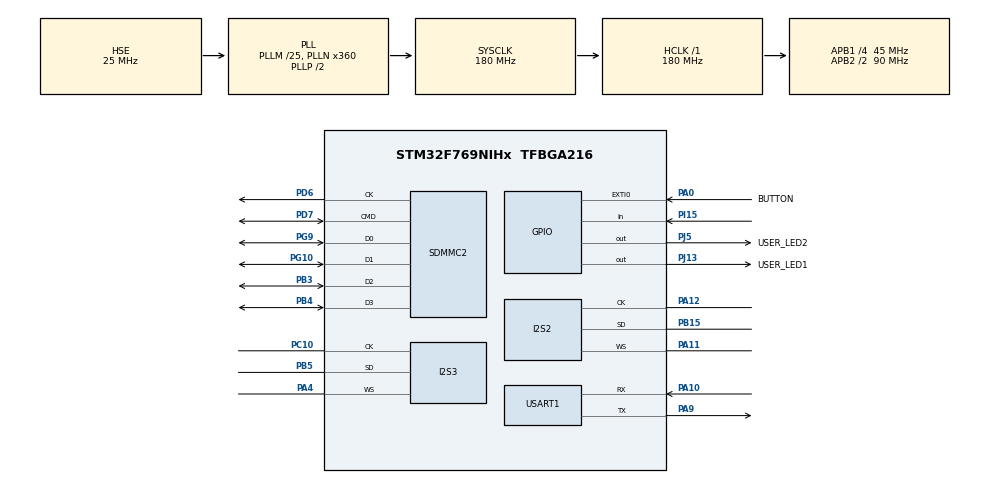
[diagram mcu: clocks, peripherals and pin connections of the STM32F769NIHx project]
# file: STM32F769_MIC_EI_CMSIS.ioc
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CORTEX_M7.AccessPermission_Spec=MPU_REGION_FULL_ACCESS
CORTEX_M7.CPU_DCache=Enabled
CORTEX_M7.CPU_ICache=Enabled
CORTEX_M7.Enable_Spec=__NULL
CORTEX_M7.MPU_Control=__NULL
CORTEX_M7.PREFETCH_ENABLE=1
CORTEX_M7.default_mode_Activation=1
Dma.Request0=SPI2_RX
Dma.Request1=SPI3_RX
Dma.Request2=SDMMC2_RX
Dma.Request3=SDMMC2_TX
Dma.SDMMC2_RX.2.Direction=DMA_PERIPH_TO_MEMORY
Dma.SDMMC2_RX.2.FIFOMode=DMA_FIFOMODE_ENABLE
Dma.SDMMC2_RX.2.FIFOThreshold=DMA_FIFO_THRESHOLD_FULL
Dma.SDMMC2_RX.2.Instance=DMA2_Stream0
Dma.SDMMC2_RX.2.MemBurst=DMA_MBURST_INC4
Dma.SDMMC2_RX.2.MemDataAlignment=DMA_MDATAALIGN_WORD
Dma.SDMMC2_RX.2.MemInc=DMA_MINC_ENABLE
Dma.SDMMC2_RX.2.Mode=DMA_PFCTRL
Dma.SDMMC2_RX.2.PeriphBurst=DMA_PBURST_INC4
Dma.SDMMC2_RX.2.PeriphDataAlignment=DMA_PDATAALIGN_WORD
Dma.SDMMC2_RX.2.PeriphInc=DMA_PINC_DISABLE
Dma.SDMMC2_RX.2.Priority=DMA_PRIORITY_LOW
Dma.SDMMC2_TX.3.Direction=DMA_MEMORY_TO_PERIPH
Dma.SDMMC2_TX.3.FIFOMode=DMA_FIFOMODE_ENABLE
Dma.SDMMC2_TX.3.FIFOThreshold=DMA_FIFO_THRESHOLD_FULL
Dma.SDMMC2_TX.3.Instance=DMA2_Stream5
Dma.SDMMC2_TX.3.MemBurst=DMA_MBURST_INC4
Dma.SDMMC2_TX.3.MemDataAlignment=DMA_MDATAALIGN_WORD
Dma.SDMMC2_TX.3.MemInc=DMA_MINC_ENABLE
Dma.SDMMC2_TX.3.Mode=DMA_PFCTRL
Dma.SDMMC2_TX.3.PeriphBurst=DMA_PBURST_INC4
Dma.SDMMC2_TX.3.PeriphDataAlignment=DMA_PDATAALIGN_WORD
Dma.SDMMC2_TX.3.PeriphInc=DMA_PINC_DISABLE
Dma.SDMMC2_TX.3.Priority=DMA_PRIORITY_LOW
Dma.SPI2_RX.0.Direction=DMA_PERIPH_TO_MEMORY
Dma.SPI2_RX.0.FIFOMode=DMA_FIFOMODE_DISABLE
Dma.SPI2_RX.0.Instance=DMA1_Stream1
Dma.SPI2_RX.0.MemDataAlignment=DMA_MDATAALIGN_HALFWORD
Dma.SPI2_RX.0.MemInc=DMA_MINC_ENABLE
Dma.SPI2_RX.0.Mode=DMA_CIRCULAR
Dma.SPI2_RX.0.PeriphDataAlignment=DMA_PDATAALIGN_HALFWORD
Dma.SPI2_RX.0.PeriphInc=DMA_PINC_DISABLE
Dma.SPI2_RX.0.Priority=DMA_PRIORITY_LOW
Dma.SPI3_RX.1.Direction=DMA_PERIPH_TO_MEMORY
Dma.SPI3_RX.1.FIFOMode=DMA_FIFOMODE_DISABLE
Dma.SPI3_RX.1.Instance=DMA1_Stream0
Dma.SPI3_RX.1.MemDataAlignment=DMA_MDATAALIGN_HALFWORD
Dma.SPI3_RX.1.MemInc=DMA_MINC_ENABLE
Dma.SPI3_RX.1.Mode=DMA_NORMAL
Dma.SPI3_RX.1.PeriphDataAlignment=DMA_PDATAALIGN_HALFWORD
Dma.SPI3_RX.1.PeriphInc=DMA_PINC_DISABLE
Dma.SPI3_RX.1.Priority=DMA_PRIORITY_LOW
EdgeImpulse.audio.1.0.7.MachineLearningCcaudioJjCore=true
FATFS.BSP.number=1
FATFS._FS_RPATH=2
FATFS._MAX_LFN=128
FATFS._MAX_SS=4096
FATFS._USE_LFN=2
FATFS0.BSP.STBoard=false
FATFS0.BSP.api=Unknown
FATFS0.BSP.instance=PI15
FATFS0.BSP.ip=GPIO
FATFS0.BSP.mode=Input
FATFS0.BSP.name=Detect_SDIO
FATFS0.BSP.solution=PI15
FREERTOS.Tasks01=MicAcquisition,0,1024,mic_task,Default,NULL,Dynamic,NULL,NULL
FREERTOS.configENABLE_FPU=1
FREERTOS.configTOTAL_HEAP_SIZE=114688
FREERTOS.configUSE_NEWLIB_REENTRANT=1
FREERTOS.configUSE_TIMERS=1
I2S2.AudioFreq=I2S_AUDIOFREQ_48K
I2S2.CPOL=I2S_CPOL_HIGH
I2S2.DataFormat=I2S_DATAFORMAT_24B
I2S2.ErrorAudioFreq=0.8 %
I2S2.FullDuplexMode=I2S_FULLDUPLEXMODE_DISABLE
I2S2.Instance=SPI$Index
I2S2.Mode=I2S_MODE_MASTER_RX
I2S2.RealAudioFreq=48.387 KHz
I2S2.VirtualMode=I2S_MODE_MASTER
I2S3.AudioFreq=I2S_AUDIOFREQ_48K
I2S3.CPOL=I2S_CPOL_HIGH
I2S3.DataFormat=I2S_DATAFORMAT_24B
I2S3.ErrorAudioFreq=0.8 %
I2S3.FullDuplexMode=I2S_FULLDUPLEXMODE_DISABLE
I2S3.Instance=SPI$Index
I2S3.Mode=I2S_MODE_MASTER_RX
I2S3.RealAudioFreq=48.387 KHz
I2S3.VirtualMode=I2S_MODE_MASTER
Mcu.Family=STM32F7
Mcu.Name=STM32F769NIHx
Mcu.Package=TFBGA216
NVIC.DMA1_Stream0_IRQn=true\:5\:0\:false\:false\:true\:true\:false\:true\:true
NVIC.DMA1_Stream1_IRQn=true\:5\:0\:false\:false\:true\:true\:false\:true\:true
NVIC.DMA2_Stream0_IRQn=true\:5\:0\:false\:false\:true\:true\:false\:true\:true
NVIC.DMA2_Stream5_IRQn=true\:5\:0\:false\:false\:true\:true\:false\:true\:true
NVIC.EXTI0_IRQn=true\:5\:0\:false\:false\:true\:true\:true\:true\:true
NVIC.PriorityGroup=NVIC_PRIORITYGROUP_4
NVIC.SDMMC2_IRQn=true\:5\:0\:false\:false\:true\:true\:true\:true\:true
NVIC.TIM8_TRG_COM_TIM14_IRQn=true\:15\:0\:false\:false\:true\:false\:false\:true\:true
NVIC.TimeBase=TIM8_TRG_COM_TIM14_IRQn
NVIC.TimeBaseIP=TIM14
NVIC.USART1_IRQn=true\:5\:0\:false\:false\:true\:true\:true\:true\:true
PA0/WKUP.GPIO_Label=BUTTON
PA0/WKUP.GPIO_ModeDefaultEXTI=GPIO_MODE_IT_FALLING
PA0/WKUP.GPIO_PuPd=GPIO_PULLUP
PA0/WKUP.Signal=GPXTI0
PA10.Mode=Asynchronous
PA10.Signal=USART1_RX
PA11.Mode=Half_Duplex_Master
PA11.Signal=I2S2_WS
PA12.Mode=Half_Duplex_Master
PA12.Signal=I2S2_CK
PA13.Mode=Serial_Wire
PA13.Signal=SYS_JTMS-SWDIO
PA14.Mode=Serial_Wire
PA14.Signal=SYS_JTCK-SWCLK
PA4.Mode=Half_Duplex_Master
PA4.Signal=I2S3_WS
PA9.Mode=Asynchronous
PA9.Signal=USART1_TX
PB15.Mode=Half_Duplex_Master
PB15.Signal=I2S2_SD
PB3.Mode=SD_4_bits_Wide_bus
PB3.Signal=SDMMC2_D2
PB4.Mode=SD_4_bits_Wide_bus
PB4.Signal=SDMMC2_D3
PB5.Mode=Half_Duplex_Master
PB5.Signal=I2S3_SD
PC10.Mode=Half_Duplex_Master
PC10.Signal=I2S3_CK
PD6.Mode=SD_4_bits_Wide_bus
PD6.Signal=SDMMC2_CK
PD7.Mode=SD_4_bits_Wide_bus
PD7.Signal=SDMMC2_CMD
PG10.Mode=SD_4_bits_Wide_bus
PG10.Signal=SDMMC2_D1
PG9.Mode=SD_4_bits_Wide_bus
PG9.Signal=SDMMC2_D0
PH0/OSC_IN.Mode=HSE-External-Oscillator
PH0/OSC_IN.Signal=RCC_OSC_IN
PH1/OSC_OUT.Mode=HSE-External-Oscillator
PH1/OSC_OUT.Signal=RCC_OSC_OUT
PI15.Signal=GPIO_Input
PJ13.GPIO_Label=USER_LED1
PJ13.Signal=GPIO_Output
PJ5.GPIO_Label=USER_LED2
PJ5.Signal=GPIO_Output
ProjectManager.HeapSize=0x200
ProjectManager.StackSize=0x400
ProjectManager.TargetToolchain=STM32CubeIDE
RCC.AHBFreq_Value=180000000
RCC.APB1CLKDivider=RCC_HCLK_DIV4
RCC.APB1Freq_Value=45000000
RCC.APB1TimFreq_Value=90000000
RCC.APB2CLKDivider=RCC_HCLK_DIV2
RCC.APB2Freq_Value=90000000
RCC.APB2TimFreq_Value=180000000
RCC.CortexFreq_Value=180000000
RCC.HCLKFreq_Value=180000000
RCC.HSE_VALUE=25000000
RCC.HSI_VALUE=16000000
RCC.LSE_VALUE=32768
RCC.PLL48CLockSelection=RCC_CLK48SOURCE_PLLSAIP
RCC.PLLM=25
RCC.PLLN=360
RCC.PLLQ=7
RCC.PLLSAIP=RCC_PLLSAIP_DIV4
RCC.PLLSourceVirtual=RCC_PLLSOURCE_HSE
RCC.SDMMC2ClockSelection=RCC_SDMMC2CLKSOURCE_CLK48
RCC.SYSCLKFreq_VALUE=180000000
RCC.SYSCLKSource=RCC_SYSCLKSOURCE_PLLCLK
RCC.USBFreq_Value=48000000
RCC.VCOOutputFreq_Value=360000000
USART1.VirtualMode-Asynchronous=VM_ASYNC
VP_CRC_VS_CRC.Mode=CRC_Activate
VP_EdgeImpulse.audio_VS_audioJjMachineLearning_1.0.7_1.0.7.Mode=audioJjMachineLearning
VP_FATFS_VS_SDIO.Mode=SDIO
VP_FREERTOS_VS_CMSIS_V1.Mode=CMSIS_V1
VP_RNG_VS_RNG.Mode=RNG_Activate
VP_SYS_VS_tim14.Mode=TIM14
board=custom

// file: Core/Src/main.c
/* USER CODE BEGIN Header */
/**
  ******************************************************************************
  * @file           : main.c
  * @brief          : Main program body
  ******************************************************************************
  * @attention
  *
  * Copyright (c) 2025 STMicroelectronics.
  * All rights reserved.
  *
  * This software is licensed under terms that can be found in the LICENSE file
  * in the root directory of this software component.
  * If no LICENSE file comes with this software, it is provided AS-IS.
  *
  ******************************************************************************
  */
/* USER CODE END Header */
#include "main.h"
#include "cmsis_os.h"
#include "fatfs.h"

/* USER CODE BEGIN Includes */
#include <string.h>
#include <stdio.h>
#include <stdbool.h>
#include "edge_impulse.h"
#include "microphone.h"
#include "print_service.h"
#include "filesystem_shell_commands.h"
#include "FreeRTOS_CLI.h"
/* USER CODE END Includes */

/* USER CODE BEGIN PM */
TimerHandle_t button_tm, led_tm;
QueueHandle_t 	  queue_button;
SemaphoreHandle_t sem_new_data;

float features[FEATURES_SIZE] = {0.0f};
volatile bool start_mic_task = false;
/* USER CODE END PM */

CRC_HandleTypeDef hcrc;

I2S_HandleTypeDef hi2s2;
I2S_HandleTypeDef hi2s3;
DMA_HandleTypeDef hdma_spi2_rx;
DMA_HandleTypeDef hdma_spi3_rx;

RNG_HandleTypeDef hrng;

SD_HandleTypeDef hsd2;
DMA_HandleTypeDef hdma_sdmmc2_rx;
DMA_HandleTypeDef hdma_sdmmc2_tx;

UART_HandleTypeDef huart1;

osThreadId MicAcquisitionHandle;

void SystemClock_Config(void);
void PeriphCommonClock_Config(void);
static void MX_GPIO_Init(void);
static void MX_DMA_Init(void);
static void MX_I2S2_Init(void);
static void MX_USART1_UART_Init(void);
static void MX_CRC_Init(void);
static void MX_RNG_Init(void);
static void MX_SDMMC2_SD_Init(void);
static void MX_I2S3_Init(void);
void mic_task(void const * argument);

/* USER CODE BEGIN 0 */
//--------------------------------------------------------------------+
// BLINKING TASK
//--------------------------------------------------------------------+
void led_blinky_cb(TimerHandle_t xTimer)
{
  (void) xTimer;
  HAL_GPIO_TogglePin(USER_LED2_GPIO_Port, USER_LED2_Pin);
}

BaseType_t read_button(uint8_t *button, TickType_t timeout){
	return xQueueReceive(queue_button, button, timeout);
}

void button_cb(TimerHandle_t xTimer)
{
	(void) xTimer;
	if (HAL_GPIO_ReadPin(BUTTON_GPIO_Port, BUTTON_Pin) == GPIO_PIN_RESET) {
		// guardar em uma fila de botões
		uint8_t button = BUTTON_Pin;
		xQueueSend(queue_button, &button, 0);
	}
	__HAL_GPIO_EXTI_CLEAR_IT(BUTTON_Pin);
	HAL_NVIC_EnableIRQ(EXTI0_IRQn);
}

void HAL_GPIO_EXTI_Callback(uint16_t GPIO_Pin)
{
  if (GPIO_Pin == GPIO_PIN_0)
  {
    HAL_NVIC_DisableIRQ(EXTI0_IRQn);
	portBASE_TYPE pxHigherPriorityTaskWoken = pdFALSE;
    xTimerStartFromISR(button_tm, &pxHigherPriorityTaskWoken);
	portYIELD_FROM_ISR(pxHigherPriorityTaskWoken);
  }
}

//////////////////////////////////////////////////////////
//// Console
///////////////////////////////////////////////////////////
static BaseType_t prvTaskStatsCommand( char *pcWriteBuffer,
                                          size_t xWriteBufferLen,
										  const char *pcCommandString )
{
    static BaseType_t state = 0;

    if (!state){
        /* For simplicity, this function assumes the output buffer is large enough
        to hold all the text generated by executing the vTaskList() API function,
        so the xWriteBufferLen parameter is not used. */
        char *head = "Name		State  Priority  Stack  Number\n\r";
        ( void ) xWriteBufferLen;

        /* pcWriteBuffer is used directly as the vTaskList() parameter, so the table
        generated by executing vTaskList() is written directly into the output
        buffer. */
        strcpy(pcWriteBuffer, head);
        vTaskList( &pcWriteBuffer[strlen(head)]);

        /* The entire table was written directly to the output buffer.  Execution
        of this command is complete, so return pdFALSE. */
        state = 1;
        return pdTRUE;
    }else{
        state = 0;
        strcpy(pcWriteBuffer, "\n\r");
        return pdFALSE;
    }
}

static BaseType_t prvIACommand( char *pcWriteBuffer,
                                  size_t xWriteBufferLen,
                                  const char *pcCommandString )
{
	const char *pcParameter1 = NULL;
	BaseType_t xParameter1StringLength;

    /* Obtain the name of the source file, and the length of its name, from
       the command string. The name of the source file is the first parameter. */
	pcParameter1 = FreeRTOS_CLIGetParameter( pcCommandString,
                                         1,
                                         &xParameter1StringLength );
	if (!strcmp(pcParameter1, "on")){
		start_mic_task = true;
		vTaskResume(MicAcquisitionHandle);
		sprintf(pcWriteBuffer, "IA Task started!\r\n");
	}else{
		if (!strcmp(pcParameter1, "off")){
			sprintf(pcWriteBuffer, "IA Task stopped!\r\n");
			start_mic_task = false;
		}else{
			if (pcParameter1 != NULL){
				uint32_t  p1, s2, cnt, size;
				bool first_block = true;
				char buffer[512];
				int16_t *pbuffer;

				if (f_open(&SDFile, pcParameter1, FA_READ) == FR_OK){
					p1 = f_size(&SDFile);

					uint32_t j = 0;
					while (p1)
					{
						if (p1 >= sizeof(buffer))
						{
							cnt = sizeof(buffer);
							p1 -= sizeof(buffer);
						}
						else
						{
							cnt = (uint16_t)p1;
							p1 = 0;
						}
						if (f_read(&SDFile, buffer, cnt, (unsigned int *)&s2) != FR_OK)
						{
							break;
						}else
						{
							if (first_block){
								pbuffer = (int16_t *)&buffer[sizeof(wav_header_t)];
								size = (s2 - sizeof(wav_header_t));
								first_block = false;
							}else{
								pbuffer = (int16_t *)buffer;
								size = s2;
							}
							for (int i=0; i<size; i += 2){
								//features[j++] = (float)(pbuffer[i] + (pbuffer[i+1] << 8));
								features[j++] = (float)(*pbuffer++);
							}
							if (cnt != s2) break;
						}
					}

					f_close(&SDFile);
					xSemaphoreGive(sem_new_data);
					sprintf(pcWriteBuffer, "Initializating %s audio classification!\r\n", pcParameter1);
				}else{
					sprintf(pcWriteBuffer, "%s does not exist!\r\n", pcParameter1);
				}
			}else{
				sprintf(pcWriteBuffer, "You need to specify a filename!\r\n");
			}
		}
	}

    /* There is only a single line of output produced in all cases. pdFALSE is
       returned because there is no more output to be generated. */
    return pdFALSE;
}

static BaseType_t prvAudioRecordCommand( char *pcWriteBuffer,
                                  size_t xWriteBufferLen,
                                  const char *pcCommandString )
{
	const char *filename;
	static int state = 0;
	BaseType_t xParameter1StringLength;

    /* Obtain the name of the source file, and the length of its name, from
       the command string. The name of the source file is the first parameter. */
	filename = FreeRTOS_CLIGetParameter( pcCommandString,
                                         1,
                                         &xParameter1StringLength );
	switch (state){
		case 0:
			if (filename != NULL){
				if (start_mic_task == false){
					(void)sprintf(pcWriteBuffer, "Recording...\r\n");
					state = 1;
					return pdTRUE;
				}else{
					(void)sprintf(pcWriteBuffer, "Microphone is already being used!\r\n");
				}
			}else {
				(void)sprintf(pcWriteBuffer, "You need to specify a filename!\r\n");
			}
			break;
		case 1:
			record_wav((char *)filename, 1);
			(void)sprintf(pcWriteBuffer, "%s recorded!\r\n", filename);
			state = 0;
			break;
	}

	return pdFALSE;
}

static const CLI_Command_Definition_t xIACommand =
{
    "ia",
	"ia: Enable or disable IA Task (parameter: on and off)\r\n",
	prvIACommand,
    1
};

static const CLI_Command_Definition_t xAudioRecordCommand =
{
    "record",
	"record: Record 1 second of audio (parameter: file name)\r\n",
	prvAudioRecordCommand,
    1
};

static const CLI_Command_Definition_t xTasksCommand =
{
    "tasks",
	"tasks: Lists all the installed tasks\r\n",
	prvTaskStatsCommand,
    0
};

void print_string(char *string, TickType_t timeout) {
	print_service_send(string, 0, timeout);
}

void print_char(char character, TickType_t timeout) {
	print_service_send(&character, 1, timeout);
}

#define cmdPARAMTER_NOT_USED	((void *)0)
#define MAX_INPUT_LENGTH    	64
#define MAX_OUTPUT_LENGTH   	3072

static char pcOutputString[MAX_OUTPUT_LENGTH];
static void shell_task(void *param){
	char cRxedChar;
	BaseType_t cInputIndex = 0;
	BaseType_t xMoreDataToFollow;
	/* The input and output buffers are declared static to keep them off the stack. */
	static char pcInputString[MAX_INPUT_LENGTH];

	FreeRTOS_CLIRegisterCommand(&xTasksCommand);
	FreeRTOS_CLIRegisterCommand(&xIACommand);
	FreeRTOS_CLIRegisterCommand(&xAudioRecordCommand);
	install_fs_shell_commands();

    // Clear screen
	print_string("\033[2J\033[H", portMAX_DELAY);
	// Welcome message
	print_string("Welcome to FreeRTOS ", portMAX_DELAY);
	print_string(tskKERNEL_VERSION_NUMBER, portMAX_DELAY);
	print_string("\n\r", portMAX_DELAY);
	print_string(">>", portMAX_DELAY);

	while(1){
			/* This implementation reads a single character at a time.  Wait in the
	        Blocked state until a character is received. */
			(void)uart_get_char(&cRxedChar, portMAX_DELAY);

	        if( cRxedChar == '\r' )
	        {
	            /* A newline character was received, so the input command string is
	            complete and can be processed.  Transmit a line separator, just to
	            make the output easier to read. */
	        	print_string("\n\r", portMAX_DELAY);

	            /* The command interpreter is called repeatedly until it returns
	            pdFALSE.  See the "Implementing a command" documentation for an
	            exaplanation of why this is. */
	            do
	            {
	                /* Send the command string to the command interpreter.  Any
	                output generated by the command interpreter will be placed in the
	                pcOutputString buffer. */
	                xMoreDataToFollow = FreeRTOS_CLIProcessCommand
	                              (
	                                  pcInputString,   /* The command string.*/
	                                  pcOutputString,  /* The output buffer. */
	                                  MAX_OUTPUT_LENGTH/* The size of the output buffer. */
	                              );

	                /* Write the output generated by the command interpreter to the
	                console. */
	                print_string(pcOutputString, portMAX_DELAY);
	                memset(pcOutputString, 0, MAX_OUTPUT_LENGTH);

	            } while( xMoreDataToFollow != pdFALSE );
                print_string(">>", portMAX_DELAY);

	            /* All the strings generated by the input command have been sent.
	            Processing of the command is complete.  Clear the input string ready
	            to receive the next command. */
	            cInputIndex = 0;
	            memset( pcInputString, 0x00, MAX_INPUT_LENGTH );
	        }
	        else
	        {
	            /* The if() clause performs the processing after a newline character
	            is received.  This else clause performs the processing if any other
	            character is received. */

	            if( cRxedChar == '\n' )
	            {
	                /* Ignore carriage returns. */
	            }
	            //else if( cRxedChar == '\b' )
	            else if( cRxedChar == 0x7F )
	            {
	                /* Backspace was pressed.  Erase the last character in the input
	                buffer - if there are any. */
	                if( cInputIndex > 0 )
	                {
	                    cInputIndex--;
	                    pcInputString[ cInputIndex ] = (char)'\0';
		                print_char(cRxedChar, portMAX_DELAY);
	                }
	            }
	            else
	            {
	                /* A character was entered.  It was not a new line, backspace
	                or carriage return, so it is accepted as part of the input and
	                placed into the input buffer.  When a \n is entered the complete
	                string will be passed to the command interpreter. */
	                if( cInputIndex < MAX_INPUT_LENGTH )
	                {
	                    pcInputString[ cInputIndex ] = cRxedChar;
	                    cInputIndex++;
	                }
	                print_char(cRxedChar, portMAX_DELAY);
	            }
	        }
	}
}
/* USER CODE END 0 */

int main(void)
{

  /* Enable the CPU Cache */

  /* Enable I-Cache---------------------------------------------------------*/
  SCB_EnableICache();

  /* Enable D-Cache---------------------------------------------------------*/
  SCB_EnableDCache();

  /* MCU Configuration--------------------------------------------------------*/

  /* Reset of all peripherals, Initializes the Flash interface and the Systick. */
  HAL_Init();

  /* Configure the system clock */
  SystemClock_Config();

  /* Configure the peripherals common clocks */
  PeriphCommonClock_Config();

  /* Initialize all configured peripherals */
  MX_GPIO_Init();
  MX_DMA_Init();
  MX_I2S2_Init();
  MX_USART1_UART_Init();
  MX_CRC_Init();
  MX_RNG_Init();
  MX_SDMMC2_SD_Init();
  MX_FATFS_Init();
  MX_I2S3_Init();

  /* USER CODE BEGIN RTOS_SEMAPHORES */
  /* add semaphores, ... */
	if (sem_new_data == NULL) {
		sem_new_data = xSemaphoreCreateBinary();
	}
  /* USER CODE END RTOS_SEMAPHORES */

  /* USER CODE BEGIN RTOS_TIMERS */
  /* start timers, add new ones, ... */
	button_tm = xTimerCreate("Button timer", pdMS_TO_TICKS(100), pdFALSE, NULL, button_cb);
	led_tm = xTimerCreate("LED timer", pdMS_TO_TICKS(200), pdTRUE, NULL, led_blinky_cb);
	xTimerStart(led_tm, 0);
  /* USER CODE END RTOS_TIMERS */

  /* USER CODE BEGIN RTOS_QUEUES */
  /* add queues, ... */
	queue_button = xQueueCreate(32, sizeof(uint8_t));
  /* USER CODE END RTOS_QUEUES */

  /* Create the thread(s) */
  /* definition and creation of MicAcquisition */
  osThreadDef(MicAcquisition, mic_task, osPriorityNormal, 0, 1024);
  MicAcquisitionHandle = osThreadCreate(osThread(MicAcquisition), NULL);

  /* USER CODE BEGIN RTOS_THREADS */
  /* add threads, ... */
  print_service_init(2);
  xTaskCreate(Task_edge_impulse, "AI Edge Impulse", 4*1024, NULL, 1, NULL);
  xTaskCreate(shell_task, "Shell", 1024, NULL, 2, NULL);
  /* USER CODE END RTOS_THREADS */

  /* Start scheduler */
  osKernelStart();

  /* We should never get here as control is now taken by the scheduler */

  /* Infinite loop */
  while (1)
  {

  }
}

void SystemClock_Config(void)
{
  RCC_OscInitTypeDef RCC_OscInitStruct = {0};
  RCC_ClkInitTypeDef RCC_ClkInitStruct = {0};

  /** Configure the main internal regulator output voltage
  */
  __HAL_RCC_PWR_CLK_ENABLE();
  __HAL_PWR_VOLTAGESCALING_CONFIG(PWR_REGULATOR_VOLTAGE_SCALE1);

  /** Initializes the RCC Oscillators according to the specified parameters
  * in the RCC_OscInitTypeDef structure.
  */
  RCC_OscInitStruct.OscillatorType = RCC_OSCILLATORTYPE_HSE;
  RCC_OscInitStruct.HSEState = RCC_HSE_ON;
  RCC_OscInitStruct.PLL.PLLState = RCC_PLL_ON;
  RCC_OscInitStruct.PLL.PLLSource = RCC_PLLSOURCE_HSE;
  RCC_OscInitStruct.PLL.PLLM = 25;
  RCC_OscInitStruct.PLL.PLLN = 360;
  RCC_OscInitStruct.PLL.PLLP = RCC_PLLP_DIV2;
  RCC_OscInitStruct.PLL.PLLQ = 7;
  RCC_OscInitStruct.PLL.PLLR = 2;
  if (HAL_RCC_OscConfig(&RCC_OscInitStruct) != HAL_OK)
  {
    Error_Handler();
  }

  /** Initializes the CPU, AHB and APB buses clocks
  */
  RCC_ClkInitStruct.ClockType = RCC_CLOCKTYPE_HCLK|RCC_CLOCKTYPE_SYSCLK
                              |RCC_CLOCKTYPE_PCLK1|RCC_CLOCKTYPE_PCLK2;
  RCC_ClkInitStruct.SYSCLKSource = RCC_SYSCLKSOURCE_PLLCLK;
  RCC_ClkInitStruct.AHBCLKDivider = RCC_SYSCLK_DIV1;
  RCC_ClkInitStruct.APB1CLKDivider = RCC_HCLK_DIV4;
  RCC_ClkInitStruct.APB2CLKDivider = RCC_HCLK_DIV2;

  if (HAL_RCC_ClockConfig(&RCC_ClkInitStruct, FLASH_LATENCY_5) != HAL_OK)
  {
    Error_Handler();
  }
}

void PeriphCommonClock_Config(void)
{
  RCC_PeriphCLKInitTypeDef PeriphClkInitStruct = {0};

  /** Initializes the peripherals clock
  */
  PeriphClkInitStruct.PeriphClockSelection = RCC_PERIPHCLK_SDMMC2|RCC_PERIPHCLK_I2S
                              |RCC_PERIPHCLK_CLK48;
  PeriphClkInitStruct.PLLI2S.PLLI2SN = 192;
  PeriphClkInitStruct.PLLI2S.PLLI2SP = RCC_PLLP_DIV2;
  PeriphClkInitStruct.PLLI2S.PLLI2SR = 2;
  PeriphClkInitStruct.PLLI2S.PLLI2SQ = 2;
  PeriphClkInitStruct.PLLSAI.PLLSAIN = 192;
  PeriphClkInitStruct.PLLSAI.PLLSAIR = 2;
  PeriphClkInitStruct.PLLSAI.PLLSAIQ = 2;
  PeriphClkInitStruct.PLLSAI.PLLSAIP = RCC_PLLSAIP_DIV4;
  PeriphClkInitStruct.PLLI2SDivQ = 1;
  PeriphClkInitStruct.PLLSAIDivQ = 1;
  PeriphClkInitStruct.PLLSAIDivR = RCC_PLLSAIDIVR_2;
  PeriphClkInitStruct.I2sClockSelection = RCC_I2SCLKSOURCE_PLLI2S;
  PeriphClkInitStruct.Clk48ClockSelection = RCC_CLK48SOURCE_PLLSAIP;
  PeriphClkInitStruct.Sdmmc2ClockSelection = RCC_SDMMC2CLKSOURCE_CLK48;
  if (HAL_RCCEx_PeriphCLKConfig(&PeriphClkInitStruct) != HAL_OK)
  {
    Error_Handler();
  }
}

static void MX_CRC_Init(void)
{

  hcrc.Instance = CRC;
  hcrc.Init.DefaultPolynomialUse = DEFAULT_POLYNOMIAL_ENABLE;
  hcrc.Init.DefaultInitValueUse = DEFAULT_INIT_VALUE_ENABLE;
  hcrc.Init.InputDataInversionMode = CRC_INPUTDATA_INVERSION_NONE;
  hcrc.Init.OutputDataInversionMode = CRC_OUTPUTDATA_INVERSION_DISABLE;
  hcrc.InputDataFormat = CRC_INPUTDATA_FORMAT_BYTES;
  if (HAL_CRC_Init(&hcrc) != HAL_OK)
  {
    Error_Handler();
  }

}

static void MX_I2S2_Init(void)
{

  hi2s2.Instance = SPI2;
  hi2s2.Init.Mode = I2S_MODE_MASTER_RX;
  hi2s2.Init.Standard = I2S_STANDARD_PHILIPS;
  hi2s2.Init.DataFormat = I2S_DATAFORMAT_24B;
  hi2s2.Init.MCLKOutput = I2S_MCLKOUTPUT_DISABLE;
  hi2s2.Init.AudioFreq = I2S_AUDIOFREQ_48K;
  hi2s2.Init.CPOL = I2S_CPOL_HIGH;
  hi2s2.Init.ClockSource = I2S_CLOCK_PLL;
  if (HAL_I2S_Init(&hi2s2) != HAL_OK)
  {
    Error_Handler();
  }

}

static void MX_I2S3_Init(void)
{

  hi2s3.Instance = SPI3;
  hi2s3.Init.Mode = I2S_MODE_MASTER_RX;
  hi2s3.Init.Standard = I2S_STANDARD_PHILIPS;
  hi2s3.Init.DataFormat = I2S_DATAFORMAT_24B;
  hi2s3.Init.MCLKOutput = I2S_MCLKOUTPUT_DISABLE;
  hi2s3.Init.AudioFreq = I2S_AUDIOFREQ_48K;
  hi2s3.Init.CPOL = I2S_CPOL_HIGH;
  hi2s3.Init.ClockSource = I2S_CLOCK_PLL;
  if (HAL_I2S_Init(&hi2s3) != HAL_OK)
  {
    Error_Handler();
  }

}

static void MX_RNG_Init(void)
{

  hrng.Instance = RNG;
  if (HAL_RNG_Init(&hrng) != HAL_OK)
  {
    Error_Handler();
  }

}

static void MX_SDMMC2_SD_Init(void)
{

  hsd2.Instance = SDMMC2;
  hsd2.Init.ClockEdge = SDMMC_CLOCK_EDGE_RISING;
  hsd2.Init.ClockBypass = SDMMC_CLOCK_BYPASS_DISABLE;
  hsd2.Init.ClockPowerSave = SDMMC_CLOCK_POWER_SAVE_DISABLE;
  hsd2.Init.BusWide = SDMMC_BUS_WIDE_1B;
  hsd2.Init.HardwareFlowControl = SDMMC_HARDWARE_FLOW_CONTROL_DISABLE;
  hsd2.Init.ClockDiv = 0;

}

static void MX_USART1_UART_Init(void)
{

  huart1.Instance = USART1;
  huart1.Init.BaudRate = 115200;
  huart1.Init.WordLength = UART_WORDLENGTH_8B;
  huart1.Init.StopBits = UART_STOPBITS_1;
  huart1.Init.Parity = UART_PARITY_NONE;
  huart1.Init.Mode = UART_MODE_TX_RX;
  huart1.Init.HwFlowCtl = UART_HWCONTROL_NONE;
  huart1.Init.OverSampling = UART_OVERSAMPLING_16;
  huart1.Init.OneBitSampling = UART_ONE_BIT_SAMPLE_DISABLE;
  huart1.AdvancedInit.AdvFeatureInit = UART_ADVFEATURE_NO_INIT;
  if (HAL_UART_Init(&huart1) != HAL_OK)
  {
    Error_Handler();
  }

}

static void MX_DMA_Init(void)
{

  /* DMA controller clock enable */
  __HAL_RCC_DMA1_CLK_ENABLE();
  __HAL_RCC_DMA2_CLK_ENABLE();

  /* DMA interrupt init */
  /* DMA1_Stream0_IRQn interrupt configuration */
  HAL_NVIC_SetPriority(DMA1_Stream0_IRQn, 5, 0);
  HAL_NVIC_EnableIRQ(DMA1_Stream0_IRQn);
  /* DMA1_Stream1_IRQn interrupt configuration */
  HAL_NVIC_SetPriority(DMA1_Stream1_IRQn, 5, 0);
  HAL_NVIC_EnableIRQ(DMA1_Stream1_IRQn);
  /* DMA2_Stream0_IRQn interrupt configuration */
  HAL_NVIC_SetPriority(DMA2_Stream0_IRQn, 5, 0);
  HAL_NVIC_EnableIRQ(DMA2_Stream0_IRQn);
  /* DMA2_Stream5_IRQn interrupt configuration */
  HAL_NVIC_SetPriority(DMA2_Stream5_IRQn, 5, 0);
  HAL_NVIC_EnableIRQ(DMA2_Stream5_IRQn);

}

static void MX_GPIO_Init(void)
{
  GPIO_InitTypeDef GPIO_InitStruct = {0};

  /* GPIO Ports Clock Enable */
  __HAL_RCC_GPIOB_CLK_ENABLE();
  __HAL_RCC_GPIOD_CLK_ENABLE();
  __HAL_RCC_GPIOA_CLK_ENABLE();
  __HAL_RCC_GPIOJ_CLK_ENABLE();
  __HAL_RCC_GPIOC_CLK_ENABLE();
  __HAL_RCC_GPIOG_CLK_ENABLE();
  __HAL_RCC_GPIOH_CLK_ENABLE();
  __HAL_RCC_GPIOI_CLK_ENABLE();

  /*Configure GPIO pin Output Level */
  HAL_GPIO_WritePin(GPIOJ, USER_LED1_Pin|USER_LED2_Pin, GPIO_PIN_RESET);

  /*Configure GPIO pins : USER_LED1_Pin USER_LED2_Pin */
  GPIO_InitStruct.Pin = USER_LED1_Pin|USER_LED2_Pin;
  GPIO_InitStruct.Mode = GPIO_MODE_OUTPUT_PP;
  GPIO_InitStruct.Pull = GPIO_NOPULL;
  GPIO_InitStruct.Speed = GPIO_SPEED_FREQ_LOW;
  HAL_GPIO_Init(GPIOJ, &GPIO_InitStruct);

  /*Configure GPIO pin : PI15 */
  GPIO_InitStruct.Pin = GPIO_PIN_15;
  GPIO_InitStruct.Mode = GPIO_MODE_INPUT;
  GPIO_InitStruct.Pull = GPIO_NOPULL;
  HAL_GPIO_Init(GPIOI, &GPIO_InitStruct);

  /*Configure GPIO pin : BUTTON_Pin */
  GPIO_InitStruct.Pin = BUTTON_Pin;
  GPIO_InitStruct.Mode = GPIO_MODE_IT_FALLING;
  GPIO_InitStruct.Pull = GPIO_PULLUP;
  HAL_GPIO_Init(BUTTON_GPIO_Port, &GPIO_InitStruct);

  /* EXTI interrupt init*/
  HAL_NVIC_SetPriority(EXTI0_IRQn, 5, 0);
  HAL_NVIC_EnableIRQ(EXTI0_IRQn);

}

void mic_task(void const * argument)
{
  /* USER CODE BEGIN 5 */
#if 0
	  uint32_t file_number = 0;
	  char filename[64];
	  uint8_t button;

	  mic_init();

	  if (f_mount(&SDFatFS, SDPath, 1) != FR_OK){
		  vTaskSuspend(NULL);
	  }

	  /* Infinite loop */
	  for(;;)
	  {
		//vTaskDelay(5000);
		read_button(&button, portMAX_DELAY);
		HAL_GPIO_WritePin(USER_LED1_GPIO_Port, USER_LED1_Pin, GPIO_PIN_SET);
		sprintf(filename, "audio_%ld.wav", file_number);
		record_wav(filename, 1);
		HAL_GPIO_WritePin(USER_LED1_GPIO_Port, USER_LED1_Pin, GPIO_PIN_RESET);
		file_number++;
	  }
#endif
#if 1
	  uint32_t bytes_read = 0;
	  uint32_t flag = 0;
	  mic_init();

	  vTaskSuspend(NULL);

	  /* Infinite loop */
	  for(;;)
	  {
		// Start microphone capture
	    while(1){
			if (flag == 0){
				flag = 1;
				mic_start();
				uint32_t noise_time = MIC_BYTE_RATE / 5;	// 200 ms
				uint32_t audio_size = 0;
				while (audio_size < noise_time) {
					// Read the RAW samples from the microphone
					bytes_read = mic_read();
					audio_size += bytes_read;
				}
				print_service_send("Speak!\n", 0, 10);
			}
			bytes_read = mic_read_in_float();
			if (!raw_feature_set_data(get_read_float_buffer(), bytes_read)){
				mic_stop();
				xSemaphoreGive(sem_new_data);
				vTaskDelay(1000);
				flag = 0;
				if (!start_mic_task){
					vTaskSuspend(NULL);
				}
			}
	    }
	  }
#endif
  /* USER CODE END 5 */
}

void HAL_TIM_PeriodElapsedCallback(TIM_HandleTypeDef *htim)
{
  if (htim->Instance == TIM14)
  {
    HAL_IncTick();
  }
}

void Error_Handler(void)
{
  __disable_irq();
  while (1)
  {
  }
}
